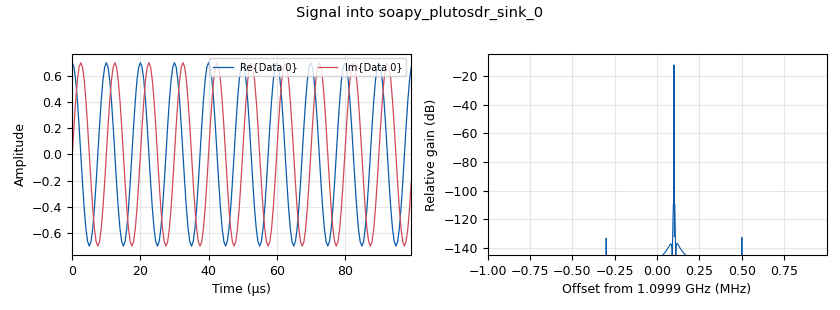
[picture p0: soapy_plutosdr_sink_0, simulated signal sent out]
options:
  parameters:
    author: JACON clinic team
    description: 'Test A: 1.1 GHz tone from the Pluto into the envelope detector. Slider = TX level, checkbox = pulsed.'
    generate_options: qt_gui
    id: ed_test_pluto_tx_soapy
    output_language: python
    title: Test A - Pluto tone for the envelope detector
  states: {}

blocks:
- name: freq
  id: variable
  parameters:
    comment: RF frequency. Change to 1.0e9 / 1.2e9 for Step 5
    value: 1.1e9
  states: {}
- name: pulse_us
  id: variable
  parameters:
    comment: pulse width in microseconds (the gap between pulses is the same length)
    value: '100'
  states: {}
- name: pulsed
  id: variable_qtgui_check_box
  parameters:
    comment: unchecked = steady tone (CW), checked = on/off pulses
    'false': '0'
    gui_hint: 1,0,1,1
    label: Pulsed
    'true': '1'
    type: int
    value: '0'
  states: {}
- name: samp_rate
  id: variable
  parameters:
    value: 2e6
  states: {}
- name: tx_level
  id: variable_qtgui_range
  parameters:
    comment: starts at the minimum. 0 = full power. This is the "TX atten" column in the procedure
    gui_hint: 0,0,1,1
    label: TX level (dB)
    start: '-89'
    step: '1'
    stop: '0'
    value: '-89'
  states: {}
- name: tone
  id: analog_sig_source_x
  parameters:
    amp: '0.7'
    comment: 100 kHz tone; the Pluto is tuned 100 kHz low so the RF lands exactly on freq
    freq: 100e3
    offset: '0'
    phase: '0'
    samp_rate: samp_rate
    type: complex
    waveform: analog.GR_COS_WAVE
  states: {}
- name: gate
  id: analog_sig_source_x
  parameters:
    amp: pulsed
    comment: 'on/off switch: always 1 when not pulsed, 0/1 square wave when pulsed'
    freq: 1e6 / (2 * pulse_us)
    offset: 1 - pulsed
    phase: '0'
    samp_rate: samp_rate
    type: float
    waveform: analog.GR_SQR_WAVE
  states: {}
- name: blocks_float_to_complex_0
  id: blocks_float_to_complex
  parameters: {}
  states: {}
- name: blocks_multiply_xx_0
  id: blocks_multiply_xx
  parameters:
    comment: tone x on/off
    type: complex
  states: {}
- name: soapy_plutosdr_sink_0
  id: soapy_plutosdr_sink
  parameters:
    bandwidth: '20000000'
    center_freq: freq - 100e3
    comment: Soapy gain 0..89 dB, so gain = 89 + tx_level
    gain: 89 + tx_level
    samp_rate: samp_rate
    type: fc32
  states: {}

connections:
- [blocks_float_to_complex_0, '0', blocks_multiply_xx_0, '1']
- [blocks_multiply_xx_0, '0', soapy_plutosdr_sink_0, '0']
- [gate, '0', blocks_float_to_complex_0, '0']
- [tone, '0', blocks_multiply_xx_0, '0']

metadata:
  file_format: 1
  grc_version: 3.10.12.0
